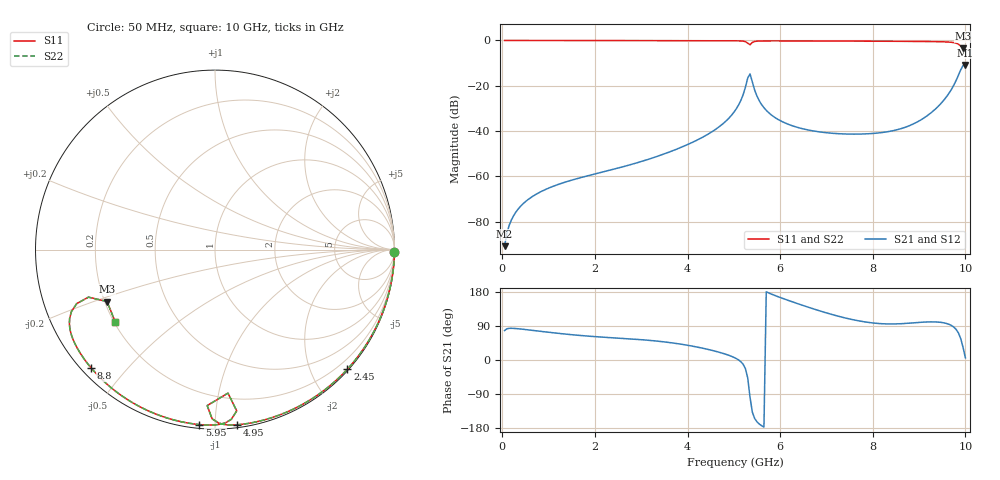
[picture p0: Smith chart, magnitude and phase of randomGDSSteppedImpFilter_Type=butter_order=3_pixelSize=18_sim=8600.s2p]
! freq	dB(S11)	phase(S11)	dB(S12)	phase(S12)
!  dB(S21)	phase(S21)	dB(S22)	phase(S22)
!S-par simulation data
#  GHz  S  DB  R 50
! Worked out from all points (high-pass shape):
!   200 points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, 50 MHz to 10 GHz, reference 50 ohm
!   highest |S21| = -10.85 dB at 10 GHz (marker M1); lowest = -90.8 dB at 50 MHz (marker M2)
!   |S21| within 3 dB of the highest: 9.881 GHz to end of sweep
!   lowest |S11| = -3.5 dB at 9.95 GHz (marker M3), VSWR 5.01, Z = 10.5 - j10.9 ohm
!   |S11| at or under -10 dB: nowhere
!   |S22| runs from -3.5 to 0.0 dB; largest |S21 - S12| = 0
!   S11 on the Smith chart (normalised r, x): 50 MHz: open; 2.45 GHz: 0.02, -2.60; 4.95 GHz: 0.02, -1.13; 5.95 GHz: 0.02, -0.91; 8.8 GHz: 0.03, -0.40; 10 GHz: 0.21, -0.31
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0.05  -0.00 -0.9  -90.82 77.8  -90.82 77.8  -0.00 -0.9
0.15  -0.00 -2.6  -81.56 83.5  -81.56 83.5  -0.00 -2.6
0.4  -0.01 -7.0  -73.09 81.8  -73.09 81.8  -0.01 -7.0
0.75  -0.01 -13.1  -67.66 76.8  -67.66 76.8  -0.01 -13.1
1.75  -0.04 -30.3  -60.25 64.0  -60.25 64.0  -0.04 -30.3
2.45  -0.05 -42.1  -56.61 58.1  -56.61 58.1  -0.05 -42.1
3.4  -0.08 -57.6  -50.78 49.2  -50.78 49.2  -0.08 -57.6
4.35  -0.10 -72.8  -42.45 30.6  -42.45 30.6  -0.10 -72.8
4.95  -0.14 -82.8  -33.01 9.7  -33.01 9.7  -0.14 -82.8
5.05  -0.16 -84.8  -30.27 4.0  -30.27 4.0  -0.16 -84.8
5.2  -0.30 -88.8  -23.99 -11.2  -23.99 -11.2  -0.30 -88.8
5.3  -1.21 -92.9  -16.54 -47.7  -16.54 -47.7  -1.21 -92.9
5.35  -1.91 -84.8  -14.79 -98.9  -14.79 -98.9  -1.91 -84.8
5.55  -0.25 -87.7  -26.67 -169.1  -26.67 -169.1  -0.25 -87.7
5.95  -0.19 -95.1  -34.81 167.2  -34.81 167.2  -0.19 -95.1
6.7  -0.22 -106.3  -39.89 135.6  -39.89 135.6  -0.22 -106.3
8.35  -0.35 -129.7  -40.19 95.1  -40.19 95.1  -0.35 -129.7
8.8  -0.40 -136.2  -37.56 97.3  -37.56 97.3  -0.40 -136.2
9.5  -0.58 -148.0  -27.19 98.8  -27.19 98.8  -0.58 -148.0
9.8  -1.20 -156.6  -17.65 80.7  -17.65 80.7  -1.20 -156.6
9.95  -3.51 -154.3  -11.08 33.1  -11.08 33.1  -3.51 -154.3
10  -3.28 -144.2  -10.85 5.7  -10.85 5.7  -3.27 -144.2
